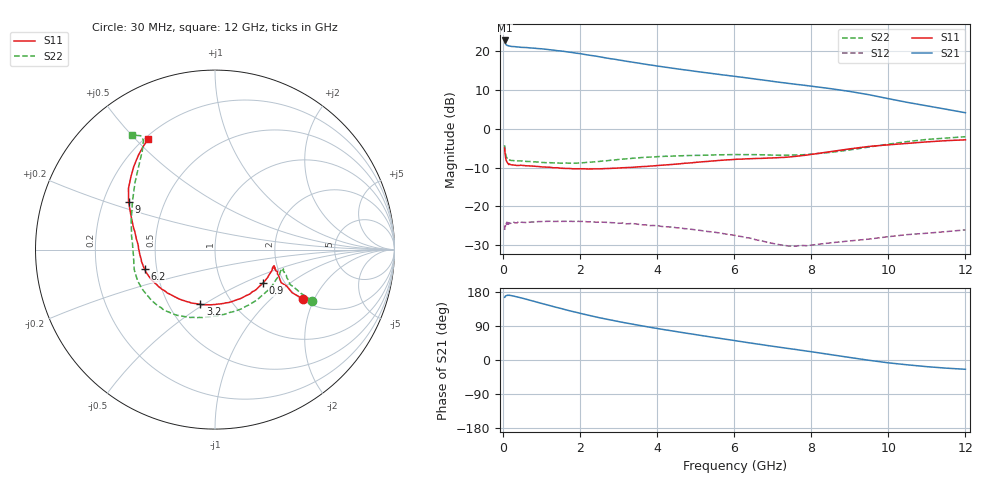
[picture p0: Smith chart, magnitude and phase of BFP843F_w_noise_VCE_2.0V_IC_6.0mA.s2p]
! Infineon Technologies  Discrete & RF Semiconductors
! BFP843F
! VCE =  2.0 V,  IC =  6.0 mA
! Common Emitter S-Parameters:  Aug 2013
# GHz  S  MA  R  50
!  f  S11  S21  S12  S22
! GHz  MAG  ANG  MAG  ANG  MAG  ANG  MAG  ANG
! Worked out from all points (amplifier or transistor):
!   103 points, 30 MHz to 12 GHz, reference 50 ohm
!   highest |S21| = 22.7 dB at 30 MHz (marker M1)
!   |S21| within 3 dB of that: start of sweep to 1.704 GHz
!   unconditionally stable (mu >= 1): 174.1 MHz to 239 MHz; 255.8 MHz to 710.7 MHz; 3.349 GHz to end of sweep (the widest 3 of 4)
!   at 400 MHz: K = 1.00, MAG = 22.2 dB, |S12| = -23.9 dB
!   at 3.7 GHz: K = 1.04, MAG = 19.5 dB, |S12| = -24.8 dB
!   at 12 GHz: K = 1.41, MAG = 11.3 dB, |S12| = -26.0 dB
!   lowest NFmin = 0.80 dB at 450 MHz
!   S11 on the Smith chart (normalised r, x): 30 MHz: 2.04, -1.65; 900 MHz: 1.57, -0.65; 3.2 GHz: 0.71, -0.48; 6.2 GHz: 0.43, -0.11; 9 GHz: 0.31, +0.23; 12 GHz: 0.21, +0.54
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0.03  0.5632 -29.3  13.64 165.6  0.0499 32.4  0.612 -27.7
0.04  0.4918 -29.2  12.93 166.3  0.0558 25.7  0.5389 -27.0
0.05  0.4485 -27.0  12.4 168.6  0.0554 21.0  0.4886 -25.5
0.07  0.3957 -24.3  12.02 169.8  0.0618 17.7  0.4433 -22.6
0.1  0.3687 -19.2  11.71 170.5  0.0597 11.0  0.4096 -18.9
0.15  0.3507 -17.0  11.56 170.8  0.0602 8.3  0.3965 -16.0
0.6  0.3329 -24.5  11.06 160.2  0.062 1.4  0.379 -26.3
0.9  0.3263 -34.6  10.73 151.8  0.0638 -0.6  0.3717 -37.8
1.3  0.3138 -48.6  10.25 140.9  0.0641 -2.8  0.3627 -53.9
1.6  0.3084 -59.0  9.828 133.0  0.0643 -4.7  0.3616 -65.9
2.1  0.3047 -75.4  9.03 120.6  0.0642 -7.8  0.3655 -84.8
2.5  0.3041 -87.3  8.401 111.4  0.063 -10.4  0.3794 -97.5
3.2  0.3158 -104.9  7.356 97.4  0.0596 -14.2  0.4097 -114.4
4.1  0.3384 -125.2  6.292 81.4  0.0553 -17.8  0.4383 -129.7
5.1  0.3724 -145.2  5.376 65.3  0.0492 -20.8  0.4538 -144.6
6.1  0.4056 -162.4  4.646 49.7  0.0416 -21.1  0.4642 -159.1
6.2  0.4059 -164.4  4.584 48.2  0.0408 -21.0  0.4635 -160.6
7.3  0.4277 177.3  3.887 31.8  0.0316 -10.2  0.4559 -176.8
8.5  0.5067 157.7  3.273 14.2  0.034 8.6  0.4958 160.3
9  0.5501 151.1  3.011 6.6  0.036 13.2  0.5333 149.5
10.5  0.647 134.4  2.176 -12.8  0.0434 19.1  0.6827 126.4
12  0.719 121.2  1.604 -24.5  0.0499 24.6  0.788 125.9
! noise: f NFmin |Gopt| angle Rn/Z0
0.45  0.8  0.11  13  0.05
0.9  0.82  0.12  23  0.06
1.5  0.87  0.12  32  0.06
1.9  0.92  0.12  47  0.06
2.4  0.96  0.13  61  0.07
3.5  1.03  0.14  93  0.12
5.5  1.14  0.16  159  0.17
10  1.81  0.38  -122  0.23
